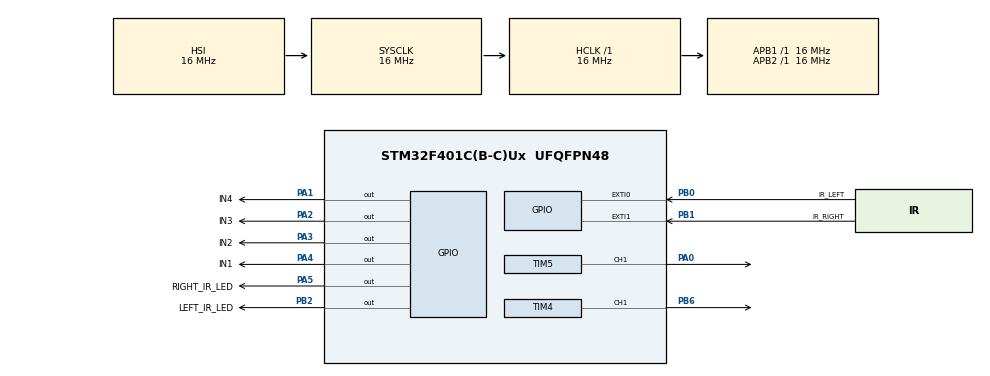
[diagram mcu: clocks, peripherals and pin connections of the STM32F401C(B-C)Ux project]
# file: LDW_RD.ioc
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FREERTOS.Tasks01=LKA_TASK,24,128,LaneKeepAssist,Default,NULL,Dynamic,NULL,NULL;LDW_TASK,8,128,LaneDetectionWarning,Default,NULL,Dynamic,NULL,NULL
Mcu.Family=STM32F4
Mcu.Name=STM32F401C(B-C)Ux
Mcu.Package=UFQFPN48
NVIC.EXTI0_IRQn=true\:5\:0\:false\:false\:true\:false\:true\:true\:true
NVIC.EXTI1_IRQn=true\:5\:0\:false\:false\:true\:false\:true\:true\:true
NVIC.PriorityGroup=NVIC_PRIORITYGROUP_4
PA0-WKUP.Signal=S_TIM5_CH1
PA1.GPIO_Label=IN4
PA1.Signal=GPIO_Output
PA13.Mode=Serial_Wire
PA13.Signal=SYS_JTMS-SWDIO
PA14.Mode=Serial_Wire
PA14.Signal=SYS_JTCK-SWCLK
PA2.GPIO_Label=IN3
PA2.Signal=GPIO_Output
PA3.GPIO_Label=IN2
PA3.Signal=GPIO_Output
PA4.GPIO_Label=IN1
PA4.Signal=GPIO_Output
PA5.GPIO_Label=RIGHT_IR_LED
PA5.Signal=GPIO_Output
PB0.GPIO_Label=IR_LEFT
PB0.GPIO_ModeDefaultEXTI=GPIO_MODE_IT_FALLING
PB0.Signal=GPXTI0
PB1.GPIO_Label=IR_RIGHT
PB1.GPIO_ModeDefaultEXTI=GPIO_MODE_IT_FALLING
PB1.Signal=GPXTI1
PB2.GPIO_Label=LEFT_IR_LED
PB2.Signal=GPIO_Output
PB6.Signal=S_TIM4_CH1
ProjectManager.HeapSize=0x200
ProjectManager.StackSize=0x400
ProjectManager.TargetToolchain=STM32CubeIDE
RCC.AHBFreq_Value=16000000
RCC.APB1Freq_Value=16000000
RCC.APB1TimFreq_Value=16000000
RCC.APB2Freq_Value=16000000
RCC.APB2TimFreq_Value=16000000
RCC.CortexFreq_Value=16000000
RCC.HCLKFreq_Value=16000000
RCC.HSE_VALUE=25000000
RCC.HSI_VALUE=16000000
RCC.LSE_VALUE=32768
RCC.SYSCLKFreq_VALUE=16000000
RCC.VCOOutputFreq_Value=192000000
SH.S_TIM4_CH1.0=TIM4_CH1,PWM Generation1 CH1
SH.S_TIM5_CH1.0=TIM5_CH1,PWM Generation1 CH1
TIM2.Period=9999
TIM2.Prescaler=15
TIM4.Channel-PWM\ Generation1\ CH1=TIM_CHANNEL_1
TIM4.OCPolarity_1=TIM_OCPOLARITY_LOW
TIM4.Period=99
TIM4.Prescaler=6399
TIM5.Channel-PWM\ Generation1\ CH1=TIM_CHANNEL_1
TIM5.OCPolarity_1=TIM_OCPOLARITY_LOW
TIM5.Period=99
TIM5.Prescaler=6399
VP_FREERTOS_VS_CMSIS_V2.Mode=CMSIS_V2
VP_TIM2_VS_ClockSourceINT.Mode=Internal
VP_TIM4_VS_ClockSourceINT.Mode=Internal
VP_TIM5_VS_ClockSourceINT.Mode=Internal
board=custom

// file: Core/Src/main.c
/* USER CODE BEGIN Header */
/**
 ******************************************************************************
 * @file           : main.c
 * @brief          : Main program body
 ******************************************************************************
 * @attention
 *
 * Copyright (c) 2023 STMicroelectronics.
 * All rights reserved.
 *
 * This software is licensed under terms that can be found in the LICENSE file
 * in the root directory of this software component.
 * If no LICENSE file comes with this software, it is provided AS-IS.
 *
 ******************************************************************************
 */
/* USER CODE END Header */
#include "main.h"
#include "cmsis_os.h"

/* USER CODE BEGIN PTD */
typedef unsigned short u8;

#define  IN1   4
#define  IN2   3
#define  EN1   0
#define  IN3   2
#define  IN4   1
#define  EN2   6

typedef enum
{
	M_CW,
	M_CCW,
	M_STOP
}Direction_status;
typedef enum
{
	M1,
	M2
}MOTOR_type;
/* USER CODE END PTD */

/* USER CODE BEGIN PM */
volatile u8 counter1,counter2;
/* USER CODE END PM */

TIM_HandleTypeDef htim2;
TIM_HandleTypeDef htim4;
TIM_HandleTypeDef htim5;

/* Definitions for LKA_TASK */
osThreadId_t LKA_TASKHandle;
const osThreadAttr_t LKA_TASK_attributes = {
  .name = "LKA_TASK",
  .stack_size = 128 * 4,
  .priority = (osPriority_t) osPriorityNormal,
};
/* Definitions for LDW_TASK */
osThreadId_t LDW_TASKHandle;
const osThreadAttr_t LDW_TASK_attributes = {
  .name = "LDW_TASK",
  .stack_size = 128 * 4,
  .priority = (osPriority_t) osPriorityLow,
};
/* USER CODE BEGIN PV */
/* EXTI interrupt callback */
void HAL_GPIO_EXTI_Callback(uint16_t GPIO_Pin)
{
	switch(GPIO_Pin)
	{
	case IR_LEFT_Pin:
		counter1++;
		break;
	case IR_RIGHT_Pin:
		counter2++;
		break;
	}
}
/* USER CODE END PV */

void SystemClock_Config(void);
static void MX_GPIO_Init(void);
static void MX_TIM2_Init(void);
static void MX_TIM4_Init(void);
static void MX_TIM5_Init(void);
void LaneKeepAssist(void *argument);
void LaneDetectionWarning(void *argument);
void MOTOR_Speed_dir(MOTOR_type motor,u8 speed , Direction_status status);

/* USER CODE BEGIN 0 */
/**********************************************************************************************/
/* Operate all car motors in CW direction */
static void MoveForward(u8 Copy_u8Speed)
{
	MOTOR_Speed_dir(M1, Copy_u8Speed , M_CW);
	MOTOR_Speed_dir(M2, Copy_u8Speed , M_CW);

}
/**********************************************************************************************/
/* Operate all car motors in CCW direction */
static void MoveBackword(u8 Copy_u8Speed)
{

	MOTOR_Speed_dir(M1, Copy_u8Speed , M_CCW);
	MOTOR_Speed_dir(M2, Copy_u8Speed , M_CCW);
}
/**********************************************************************************************/
/* Operate two right car motors in CW direction
 * Operate two left car motors in CCW direction */
static void MoveRight(u8 Copy_u8Speed)
{
	MOTOR_Speed_dir(M1, Copy_u8Speed , M_CW);
	MOTOR_Speed_dir(M2, Copy_u8Speed , M_CCW);
}
/**********************************************************************************************/
/* Operate two right car motors in CCW direction
 * Operate two left car motors in CW direction */
static void MoveLeft(u8 Copy_u8Speed)
{
	MOTOR_Speed_dir(M1, Copy_u8Speed , M_CCW);
	MOTOR_Speed_dir(M2, Copy_u8Speed , M_CW);

}
/**********************************************************************************************/
/* Stop all car motors */
void MOTOR_Speed_dir(MOTOR_type motor,u8 speed , Direction_status status)
{

	switch (motor)
	{
	case M1:
		__HAL_TIM_SET_COMPARE(&htim4,TIM_CHANNEL_1, speed);
		switch (status)
		{
		case M_CW:
			HAL_GPIO_WritePin(IN1_GPIO_Port, IN1_Pin, 1);
			HAL_GPIO_WritePin(IN2_GPIO_Port, IN2_Pin, 0);

			break;
		case M_CCW:
			HAL_GPIO_WritePin(IN1_GPIO_Port, IN1_Pin, 0);
			HAL_GPIO_WritePin(IN2_GPIO_Port, IN2_Pin, 1);
			break;
		case M_STOP:
			HAL_GPIO_WritePin(IN1_GPIO_Port, IN1_Pin, 0);
			HAL_GPIO_WritePin(IN2_GPIO_Port, IN2_Pin, 0);
			break;
		}
		break;

		case M2:
			__HAL_TIM_SET_COMPARE(&htim5,TIM_CHANNEL_1, speed);
			switch (status)
			{
			case M_CW:
				HAL_GPIO_WritePin(IN3_GPIO_Port, IN3_Pin, 1);
				HAL_GPIO_WritePin(IN4_GPIO_Port, IN4_Pin, 0);

				break;
			case M_CCW:
				HAL_GPIO_WritePin(IN3_GPIO_Port, IN3_Pin, 0);
				HAL_GPIO_WritePin(IN4_GPIO_Port, IN4_Pin, 1);
				break;
			case M_STOP:
				HAL_GPIO_WritePin(IN3_GPIO_Port, IN3_Pin, 0);
				HAL_GPIO_WritePin(IN4_GPIO_Port, IN4_Pin, 0);
				break;
			}
			break;
	}

}

/* USER CODE END 0 */

int main(void)
{

  /* MCU Configuration--------------------------------------------------------*/

  /* Reset of all peripherals, Initializes the Flash interface and the Systick. */
  HAL_Init();

  /* Configure the system clock */
  SystemClock_Config();

  /* Initialize all configured peripherals */
  MX_GPIO_Init();
  MX_TIM2_Init();
  MX_TIM4_Init();
  MX_TIM5_Init();

  /* Init scheduler */
  osKernelInitialize();

  /* Create the thread(s) */
  /* creation of LKA_TASK */
  LKA_TASKHandle = osThreadNew(LaneKeepAssist, NULL, &LKA_TASK_attributes);

  /* creation of LDW_TASK */
  LDW_TASKHandle = osThreadNew(LaneDetectionWarning, NULL, &LDW_TASK_attributes);

  /* Start scheduler */
  osKernelStart();
  /* We should never get here as control is now taken by the scheduler */
  /* Infinite loop */
	while (1)
	{

	}
}

void SystemClock_Config(void)
{
  RCC_OscInitTypeDef RCC_OscInitStruct = {0};
  RCC_ClkInitTypeDef RCC_ClkInitStruct = {0};

  /** Configure the main internal regulator output voltage
  */
  __HAL_RCC_PWR_CLK_ENABLE();
  __HAL_PWR_VOLTAGESCALING_CONFIG(PWR_REGULATOR_VOLTAGE_SCALE2);

  /** Initializes the RCC Oscillators according to the specified parameters
  * in the RCC_OscInitTypeDef structure.
  */
  RCC_OscInitStruct.OscillatorType = RCC_OSCILLATORTYPE_HSI;
  RCC_OscInitStruct.HSIState = RCC_HSI_ON;
  RCC_OscInitStruct.HSICalibrationValue = RCC_HSICALIBRATION_DEFAULT;
  RCC_OscInitStruct.PLL.PLLState = RCC_PLL_NONE;
  if (HAL_RCC_OscConfig(&RCC_OscInitStruct) != HAL_OK)
  {
    Error_Handler();
  }

  /** Initializes the CPU, AHB and APB buses clocks
  */
  RCC_ClkInitStruct.ClockType = RCC_CLOCKTYPE_HCLK|RCC_CLOCKTYPE_SYSCLK
                              |RCC_CLOCKTYPE_PCLK1|RCC_CLOCKTYPE_PCLK2;
  RCC_ClkInitStruct.SYSCLKSource = RCC_SYSCLKSOURCE_HSI;
  RCC_ClkInitStruct.AHBCLKDivider = RCC_SYSCLK_DIV1;
  RCC_ClkInitStruct.APB1CLKDivider = RCC_HCLK_DIV1;
  RCC_ClkInitStruct.APB2CLKDivider = RCC_HCLK_DIV1;

  if (HAL_RCC_ClockConfig(&RCC_ClkInitStruct, FLASH_LATENCY_0) != HAL_OK)
  {
    Error_Handler();
  }
}

static void MX_TIM2_Init(void)
{

  TIM_ClockConfigTypeDef sClockSourceConfig = {0};
  TIM_MasterConfigTypeDef sMasterConfig = {0};

  htim2.Instance = TIM2;
  htim2.Init.Prescaler = 15;
  htim2.Init.CounterMode = TIM_COUNTERMODE_UP;
  htim2.Init.Period = 9999;
  htim2.Init.ClockDivision = TIM_CLOCKDIVISION_DIV1;
  htim2.Init.AutoReloadPreload = TIM_AUTORELOAD_PRELOAD_DISABLE;
  if (HAL_TIM_Base_Init(&htim2) != HAL_OK)
  {
    Error_Handler();
  }
  sClockSourceConfig.ClockSource = TIM_CLOCKSOURCE_INTERNAL;
  if (HAL_TIM_ConfigClockSource(&htim2, &sClockSourceConfig) != HAL_OK)
  {
    Error_Handler();
  }
  sMasterConfig.MasterOutputTrigger = TIM_TRGO_RESET;
  sMasterConfig.MasterSlaveMode = TIM_MASTERSLAVEMODE_DISABLE;
  if (HAL_TIMEx_MasterConfigSynchronization(&htim2, &sMasterConfig) != HAL_OK)
  {
    Error_Handler();
  }

}

static void MX_TIM4_Init(void)
{

  TIM_ClockConfigTypeDef sClockSourceConfig = {0};
  TIM_MasterConfigTypeDef sMasterConfig = {0};
  TIM_OC_InitTypeDef sConfigOC = {0};

  htim4.Instance = TIM4;
  htim4.Init.Prescaler = 6399;
  htim4.Init.CounterMode = TIM_COUNTERMODE_UP;
  htim4.Init.Period = 99;
  htim4.Init.ClockDivision = TIM_CLOCKDIVISION_DIV1;
  htim4.Init.AutoReloadPreload = TIM_AUTORELOAD_PRELOAD_DISABLE;
  if (HAL_TIM_Base_Init(&htim4) != HAL_OK)
  {
    Error_Handler();
  }
  sClockSourceConfig.ClockSource = TIM_CLOCKSOURCE_INTERNAL;
  if (HAL_TIM_ConfigClockSource(&htim4, &sClockSourceConfig) != HAL_OK)
  {
    Error_Handler();
  }
  if (HAL_TIM_PWM_Init(&htim4) != HAL_OK)
  {
    Error_Handler();
  }
  sMasterConfig.MasterOutputTrigger = TIM_TRGO_RESET;
  sMasterConfig.MasterSlaveMode = TIM_MASTERSLAVEMODE_DISABLE;
  if (HAL_TIMEx_MasterConfigSynchronization(&htim4, &sMasterConfig) != HAL_OK)
  {
    Error_Handler();
  }
  sConfigOC.OCMode = TIM_OCMODE_PWM1;
  sConfigOC.Pulse = 0;
  sConfigOC.OCPolarity = TIM_OCPOLARITY_LOW;
  sConfigOC.OCFastMode = TIM_OCFAST_DISABLE;
  if (HAL_TIM_PWM_ConfigChannel(&htim4, &sConfigOC, TIM_CHANNEL_1) != HAL_OK)
  {
    Error_Handler();
  }
  HAL_TIM_MspPostInit(&htim4);

}

static void MX_TIM5_Init(void)
{

  TIM_ClockConfigTypeDef sClockSourceConfig = {0};
  TIM_MasterConfigTypeDef sMasterConfig = {0};
  TIM_OC_InitTypeDef sConfigOC = {0};

  htim5.Instance = TIM5;
  htim5.Init.Prescaler = 6399;
  htim5.Init.CounterMode = TIM_COUNTERMODE_UP;
  htim5.Init.Period = 99;
  htim5.Init.ClockDivision = TIM_CLOCKDIVISION_DIV1;
  htim5.Init.AutoReloadPreload = TIM_AUTORELOAD_PRELOAD_DISABLE;
  if (HAL_TIM_Base_Init(&htim5) != HAL_OK)
  {
    Error_Handler();
  }
  sClockSourceConfig.ClockSource = TIM_CLOCKSOURCE_INTERNAL;
  if (HAL_TIM_ConfigClockSource(&htim5, &sClockSourceConfig) != HAL_OK)
  {
    Error_Handler();
  }
  if (HAL_TIM_PWM_Init(&htim5) != HAL_OK)
  {
    Error_Handler();
  }
  sMasterConfig.MasterOutputTrigger = TIM_TRGO_RESET;
  sMasterConfig.MasterSlaveMode = TIM_MASTERSLAVEMODE_DISABLE;
  if (HAL_TIMEx_MasterConfigSynchronization(&htim5, &sMasterConfig) != HAL_OK)
  {
    Error_Handler();
  }
  sConfigOC.OCMode = TIM_OCMODE_PWM1;
  sConfigOC.Pulse = 0;
  sConfigOC.OCPolarity = TIM_OCPOLARITY_LOW;
  sConfigOC.OCFastMode = TIM_OCFAST_DISABLE;
  if (HAL_TIM_PWM_ConfigChannel(&htim5, &sConfigOC, TIM_CHANNEL_1) != HAL_OK)
  {
    Error_Handler();
  }
  HAL_TIM_MspPostInit(&htim5);

}

static void MX_GPIO_Init(void)
{
  GPIO_InitTypeDef GPIO_InitStruct = {0};

  /* GPIO Ports Clock Enable */
  __HAL_RCC_GPIOA_CLK_ENABLE();
  __HAL_RCC_GPIOB_CLK_ENABLE();

  /*Configure GPIO pin Output Level */
  HAL_GPIO_WritePin(GPIOA, IN4_Pin|IN3_Pin|IN2_Pin|IN1_Pin
                          |RIGHT_IR_LED_Pin, GPIO_PIN_RESET);

  /*Configure GPIO pin Output Level */
  HAL_GPIO_WritePin(LEFT_IR_LED_GPIO_Port, LEFT_IR_LED_Pin, GPIO_PIN_RESET);

  /*Configure GPIO pins : IN4_Pin IN3_Pin IN2_Pin IN1_Pin
                           RIGHT_IR_LED_Pin */
  GPIO_InitStruct.Pin = IN4_Pin|IN3_Pin|IN2_Pin|IN1_Pin
                          |RIGHT_IR_LED_Pin;
  GPIO_InitStruct.Mode = GPIO_MODE_OUTPUT_PP;
  GPIO_InitStruct.Pull = GPIO_NOPULL;
  GPIO_InitStruct.Speed = GPIO_SPEED_FREQ_LOW;
  HAL_GPIO_Init(GPIOA, &GPIO_InitStruct);

  /*Configure GPIO pins : IR_LEFT_Pin IR_RIGHT_Pin */
  GPIO_InitStruct.Pin = IR_LEFT_Pin|IR_RIGHT_Pin;
  GPIO_InitStruct.Mode = GPIO_MODE_IT_FALLING;
  GPIO_InitStruct.Pull = GPIO_NOPULL;
  HAL_GPIO_Init(GPIOB, &GPIO_InitStruct);

  /*Configure GPIO pin : LEFT_IR_LED_Pin */
  GPIO_InitStruct.Pin = LEFT_IR_LED_Pin;
  GPIO_InitStruct.Mode = GPIO_MODE_OUTPUT_PP;
  GPIO_InitStruct.Pull = GPIO_NOPULL;
  GPIO_InitStruct.Speed = GPIO_SPEED_FREQ_LOW;
  HAL_GPIO_Init(LEFT_IR_LED_GPIO_Port, &GPIO_InitStruct);

  /* EXTI interrupt init*/
  HAL_NVIC_SetPriority(EXTI0_IRQn, 5, 0);
  HAL_NVIC_EnableIRQ(EXTI0_IRQn);

  HAL_NVIC_SetPriority(EXTI1_IRQn, 5, 0);
  HAL_NVIC_EnableIRQ(EXTI1_IRQn);

}

void LaneKeepAssist(void *argument)
{
  /* USER CODE BEGIN 5 */
	HAL_TIM_PWM_Start(&htim4, TIM_CHANNEL_1);
	HAL_TIM_PWM_Start(&htim5, TIM_CHANNEL_1);
	/* Infinite loop */
	for(;;)
	{
		if(counter1==1 && counter2==0)//left
		{
			MoveRight(50);
			osDelay(200);
			MoveForward(60);

		}
		else if(counter2==1 && counter1==0)
		{
			MoveLeft(50);
			osDelay(200);
			MoveForward(60);

		}
		osDelay(100);
	}
  /* USER CODE END 5 */
}

void LaneDetectionWarning(void *argument)
{
  /* USER CODE BEGIN LaneDetectionWarning */
		/* Infinite loop */
		for(;;)
		{
			if(counter1>2)
			{
				counter1=0;
			}
			if(counter2>2)
			{
				counter2=0;
			}
			if(counter1 == 1 && counter2 == 0)
			{
				// Activate left lane warning
				HAL_GPIO_WritePin(LEFT_IR_LED_GPIO_Port,LEFT_IR_LED_Pin,1);
				osDelay(500);
			}
			else if(counter1 == 2 )
			{
				// Deactivate left lane warning
				counter1 = 0;
				counter2 = 0;
				HAL_GPIO_WritePin(LEFT_IR_LED_GPIO_Port,LEFT_IR_LED_Pin,0);
				osDelay(500);
			}
			else if(counter2 == 1 && counter1 == 0)
			{
				// Activate right lane warning
				HAL_GPIO_WritePin(RIGHT_IR_LED_GPIO_Port,RIGHT_IR_LED_Pin,1);
				osDelay(500);
			}
			else if(counter2 == 2)
			{
				// Deactivate right lane warning
				counter1 = 0;
				counter2 = 0;
				HAL_GPIO_WritePin(RIGHT_IR_LED_GPIO_Port,RIGHT_IR_LED_Pin,0);
				osDelay(500);
			}
			else if((counter2 == 1 && counter1 == 1))
			{
				counter1 = 0;
				counter2 = 0;
				HAL_GPIO_WritePin(LEFT_IR_LED_GPIO_Port,LEFT_IR_LED_Pin,0);
				HAL_GPIO_WritePin(RIGHT_IR_LED_GPIO_Port,RIGHT_IR_LED_Pin,0);
				osDelay(500);
			}
			else
			{
				// No lane departure warning
				osDelay(300);
			}
		}
  /* USER CODE END LaneDetectionWarning */
}

void Error_Handler(void)
{
		__disable_irq();
		while (1)
		{
		}
}
